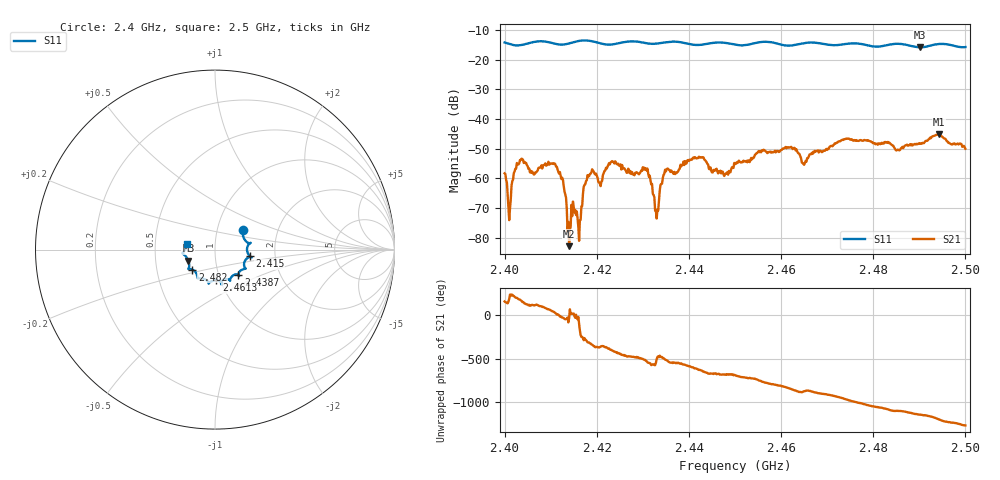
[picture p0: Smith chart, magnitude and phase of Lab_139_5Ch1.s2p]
# Hz S RI R 50
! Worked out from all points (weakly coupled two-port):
!   601 points, 2.4 GHz to 2.5 GHz, reference 50 ohm
!   highest |S21| = -45.19 dB at 2.4943 GHz (marker M1); lowest = -82.8 dB at 2.414 GHz (marker M2)
!   lowest |S11| = -15.9 dB at 2.4902 GHz (marker M3), VSWR 1.38, Z = 36.9 - j4.64 ohm
!   |S11| at or under -10 dB: start of sweep to end of sweep
!   S12 and S22 are empty: the file has one direction only
!   S11 on the Smith chart (normalised r, x): 2.4 GHz: 1.33, +0.31; 2.415 GHz: 1.47, -0.11; 2.4387 GHz: 1.24, -0.36; 2.4613 GHz: 0.96, -0.34; 2.482 GHz: 0.76, -0.17; 2.5 GHz: 0.72, +0.05
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2.4e9  0.1576 0.1119  -0.00116 0.000369  0 0  0 0
2.401e9  0.1554 0.097  -0.000193 -4.83e-05  0 0  0 0
2.4035e9  0.1659 0.0548  -0.00204 0.000118  0 0  0 0
2.410833e9  0.1836 0.0224  0.00143 0.00107  0 0  0 0
2.4125e9  0.1782 -0.00198  0.000956 -0.000385  0 0  0 0
2.414e9  0.1848 -0.025  6.12e-05 -3.9e-05  0 0  0 0
2.415e9  0.1925 -0.0361  0.000306 0.000127  0 0  0 0
2.416667e9  0.2037 -0.044  -0.000114 0.000321  0 0  0 0
2.4185e9  0.2019 -0.0412  0.000957 0.000701  0 0  0 0
2.4235e9  0.1621 -0.0787  0.00124 -0.00147  0 0  0 0
2.4305e9  0.154 -0.1106  -0.00128 -0.000572  0 0  0 0
2.433333e9  0.1322 -0.1317  -0.000114 -0.000264  0 0  0 0
2.435e9  0.131 -0.1447  -0.0012 -0.000537  0 0  0 0
2.438667e9  0.1302 -0.1415  -0.00149 0.00078  0 0  0 0
2.45e9  0.0689 -0.1646  0.00154 0.000803  0 0  0 0
2.461333e9  0.00786 -0.1713  -0.00163 -0.00291  0 0  0 0
2.466667e9  -0.0347 -0.1903  -0.00258 -0.000777  0 0  0 0
2.482e9  -0.126 -0.1113  0.00382 0.000403  0 0  0 0
2.483333e9  -0.1398 -0.1084  0.00386 -0.000811  0 0  0 0
2.490167e9  -0.1479 -0.0613  0.00133 -0.00368  0 0  0 0
2.494333e9  -0.1816 -0.0212  -0.00331 -0.0044  0 0  0 0
2.5e9  -0.1587 0.0325  -0.00302 0.000936  0 0  0 0
